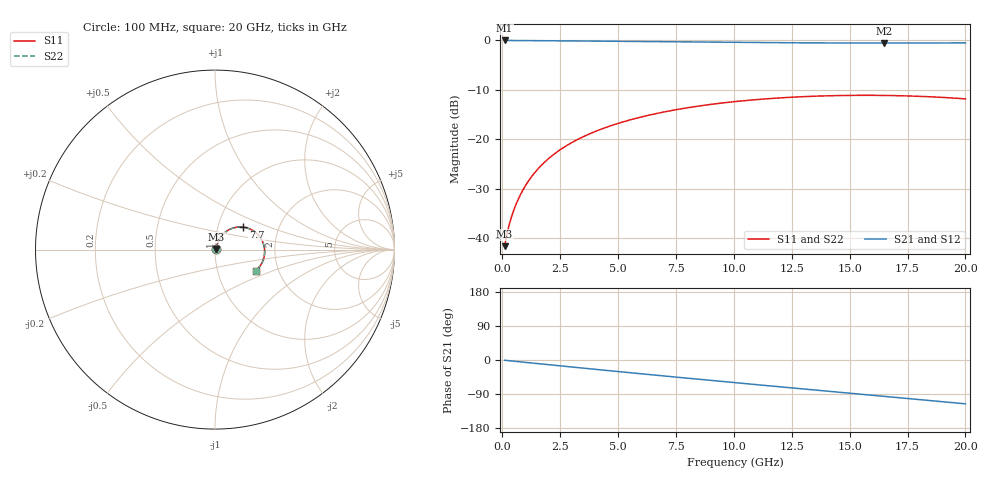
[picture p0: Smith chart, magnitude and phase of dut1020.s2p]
! Touchstone file exported from HFSS 2026.1.0
!  File:  C:/ffzhzh/LocalFiles/Ansys_Project_Files/temp_train_TSV_RDL_1020_1783292625_39728.aedt
!  Generated:  07:11:44 AM Jul  6, 2026
!  Design:  TSV_RDL
!  Project:  temp_train_TSV_RDL_1020_1783292625_39728
! Variables:
!  h_bsmrdl = 3.26um
!  h_ox = 20um
!  h_rdl = 5um
!  h_sub = 57.96um
!  h_tmrdl = 5.15um
!  h_tsv = 57.96um
!  h_via = 3um
!  l_bsmrdl = 224.17um
!  l_sub = 2041.74um
!  l_tmrdl = 203.48um
!  m_sub = 200um
!  pitch = 38.58um
!  r_tsv = 7.04um
!  s_tmrdl = 10um
!  w_bsmrdl = 22.75um
!  w_sub = 500um
!  w_tmrdl = 29.02um
!  x_tsv_center1 = 217.99um
!  x_tsv_center2 = 464.91um
!  x_tsv_center3 = 697.41um
!  x_tsv_center4 = 944.33um
!  x_tsv_center5 = 1176.83um
!  x_tsv_center6 = 1423.75um
# GHz S MA R 50.000000
! Terminal data exported
! Port[1] = TM_RDL1_1_T1
! Port[2] = TM_RDL5_1_T1
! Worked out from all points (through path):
!   200 points, 100 MHz to 20 GHz, reference 50 ohm
!   highest |S21| = -0.06 dB at 100 MHz (marker M1); lowest = -0.6 dB at 16.5 GHz (marker M2)
!   group delay of S21, straight-line fit = 15.9 ps
!   lowest |S11| = -41.6 dB at 100 MHz (marker M3), VSWR 1.02, Z = 50.7 + j0.395 ohm
!   |S11| at or under -10 dB: start of sweep to end of sweep
!   |S22| runs from -41.6 to -11.1 dB; largest |S21 - S12| = 1.7e-14
!   S11 on the Smith chart (normalised r, x): 100 MHz: 1.01, +0.01; 7.7 GHz: 1.33, +0.35; 20 GHz: 1.52, -0.39
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0.1  0.00829 28.0  0.9927 -0.7  0.9927 -0.7  0.00829 28.0
! Gamma 0 0 0 0
! Port Impedance 50 0 50 0
0.2  0.01089 42.7  0.9922 -1.3  0.9922 -1.3  0.01089 42.7
0.3  0.01368 50.4  0.9916 -2.0  0.9916 -2.0  0.01368 50.4
0.5  0.01926 58.9  0.9907 -3.2  0.9907 -3.2  0.01926 58.9
0.8  0.02792 64.9  0.9898 -5.0  0.9898 -5.0  0.02792 64.9
1.2  0.03983 67.6  0.9888 -7.5  0.9888 -7.5  0.03983 67.6
1.7  0.05478 67.8  0.9873 -10.6  0.9873 -10.6  0.05478 67.8
2.2  0.06949 66.5  0.9855 -13.6  0.9855 -13.6  0.06949 66.4
2.8  0.08666 64.0  0.9831 -17.3  0.9831 -17.3  0.08666 64.0
3.5  0.1059 60.7  0.98 -21.5  0.98 -21.5  0.1059 60.7
4.2  0.1243 57.1  0.9766 -25.7  0.9766 -25.7  0.1243 57.1
5  0.1442 52.9  0.9725 -30.5  0.9725 -30.5  0.1442 52.8
6.8  0.1844 43.1  0.9633 -41.1  0.9633 -41.1  0.1844 43.1
7.7  0.2019 38.2  0.9588 -46.3  0.9588 -46.3  0.202 38.2
10.1  0.2401 25.2  0.948 -60.1  0.948 -60.1  0.2401 25.2
11.7  0.2583 16.6  0.9423 -69.1  0.9423 -69.1  0.2583 16.6
13.4  0.2709 7.5  0.9378 -78.7  0.9378 -78.7  0.2709 7.4
14.9  0.2764 -0.6  0.9355 -87.1  0.9355 -87.1  0.2764 -0.6
16.5  0.2764 -9.1  0.9347 -96.0  0.9347 -96.0  0.2764 -9.1
16.7  0.2759 -10.1  0.9347 -97.1  0.9347 -97.1  0.2759 -10.2
18.4  0.2683 -19.2  0.9358 -106.6  0.9358 -106.6  0.2684 -19.2
20  0.255 -27.7  0.9384 -115.7  0.9384 -115.7  0.255 -27.8
